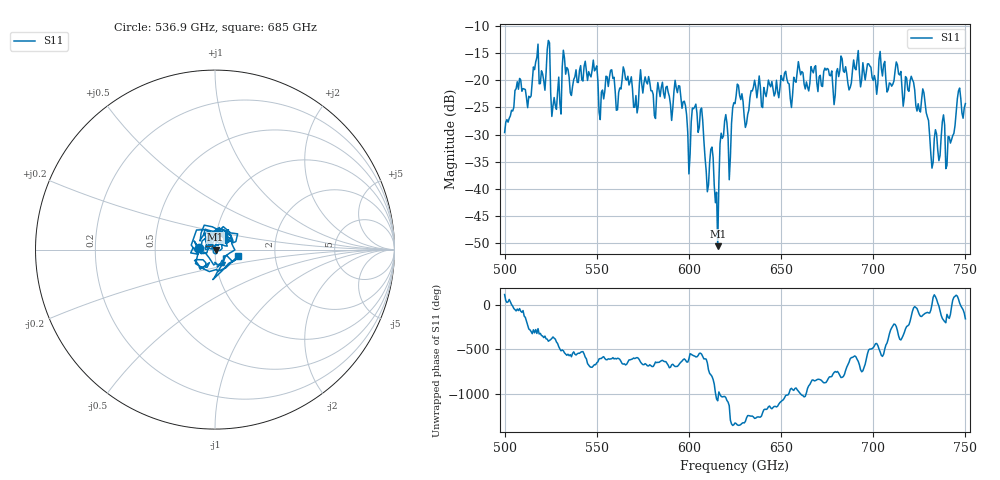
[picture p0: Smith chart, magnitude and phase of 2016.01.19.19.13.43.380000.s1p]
!Created with skrf (http://scikit-rf.org).
# GHz S RI R 50.0
!freq ReS11 ImS11
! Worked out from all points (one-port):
!   401 points, 500 GHz to 750 GHz, reference 50 ohm
!   lowest |S11| = -50.6 dB at 615.6 GHz (marker M1), VSWR 1.01, Z = 50.3 + j0.0357 ohm
!   |S11| at or under -10 dB: start of sweep to end of sweep
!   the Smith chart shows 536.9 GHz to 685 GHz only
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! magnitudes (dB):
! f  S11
! 500 GHz  -29.6
! 507.5 GHz  -21.6
! 513.1 GHz  -22.9
! 516.9 GHz  -16.6
! 523.8 GHz  -12.6
! 526.9 GHz  -23.2
! 531.2 GHz  -17.6
! 562.5 GHz  -21.4
! 593.8 GHz  -22.3
! 600 GHz  -37.3
! 603.1 GHz  -24.9
! 606.9 GHz  -25.1
! 609.4 GHz  -36.7
! 612.5 GHz  -32.3
! 615.6 GHz  -50.6
! 618.1 GHz  -30.7
! 622.5 GHz  -34.1
! 625 GHz  -24.3
! 631.2 GHz  -28.0
! 635 GHz  -21.3
! 656.2 GHz  -22.6
! 660 GHz  -17.9
! 687.5 GHz  -21.3
! 690.6 GHz  -18.1
! 718.8 GHz  -21.8
! 727.5 GHz  -22.3
! 731.9 GHz  -36.2
! 750 GHz  -24.3
